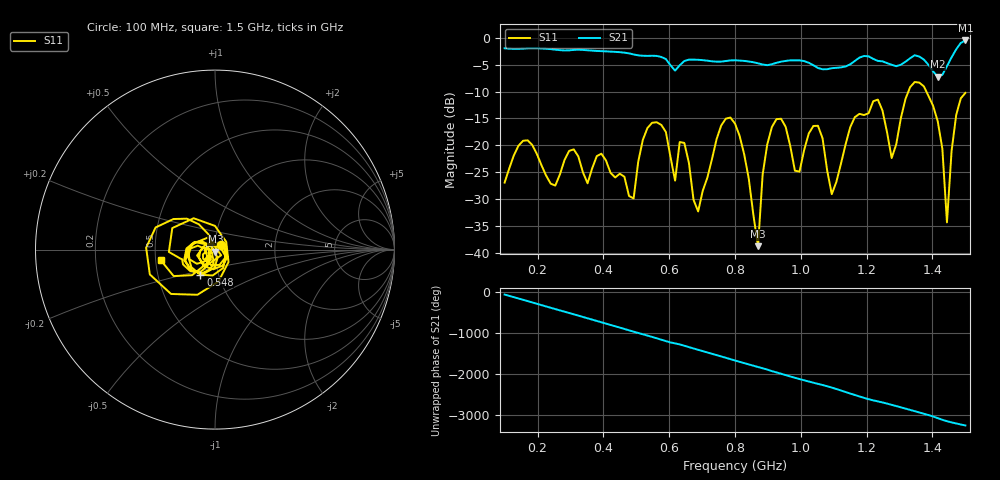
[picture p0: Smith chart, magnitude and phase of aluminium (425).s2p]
! NanoVNA-App
! Date: 2025-09-25 14:58:35
! Start: 100MHz Stop: 1,5GHz Points: 101
! S-Parameter data: F S11 S21 S12 S22
# Hz S RI R 50
!  Frequency  S11_Real  S11_Imag  S21_Real  S21_Imag  S12_Real  S12_Imag  S22_Real  S22_Imag
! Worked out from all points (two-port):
!   101 points, 100 MHz to 1.5 GHz, reference 50 ohm
!   highest |S21| = -0.46 dB at 1.5 GHz (marker M1); lowest = -7.2 dB at 1.416 GHz (marker M2)
!   |S21| within 3 dB of the highest: start of sweep to 570.6 MHz; 1.459 GHz to end of sweep (the widest 2 of 4)
!   lowest |S11| = -38.8 dB at 870 MHz (marker M3), VSWR 1.02, Z = 50.2 - j1.12 ohm
!   |S11| at or under -10 dB: start of sweep to 1.327 GHz; 1.382 GHz to end of sweep
!   S12 and S22 are empty: the file has one direction only
!   S11 on the Smith chart (normalised r, x): 100 MHz: 1.07, +0.06; 548 MHz: 0.82, -0.24; 1.5 GHz: 0.53, -0.07
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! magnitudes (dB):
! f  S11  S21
! 100 MHz  -27.0  -1.9
! 156 MHz  -19.2  -2.0
! 338 MHz  -25.0  -2.2
! 492 MHz  -29.9  -3.1
! 548 MHz  -15.8  -3.3
! 576 MHz  -16.2  -3.5
! 618 MHz  -26.6  -6.1
! 646 MHz  -19.6  -4.3
! 688 MHz  -32.3  -4.1
! 800 MHz  -16.0  -4.2
! 870 MHz  -38.8  -4.7
! 912 MHz  -16.6  -4.9
! 996 MHz  -24.9  -4.2
! 1.038 GHz  -16.4  -5.1
! 1.094 GHz  -29.1  -5.6
! 1.22 GHz  -11.8  -3.9
! 1.276 GHz  -22.4  -5.0
! 1.346 GHz  -8.2  -3.2
! 1.416 GHz  -15.5  -7.2
! 1.444 GHz  -34.4  -5.3
! 1.472 GHz  -14.4  -2.1
! 1.5 GHz  -10.2  -0.5
